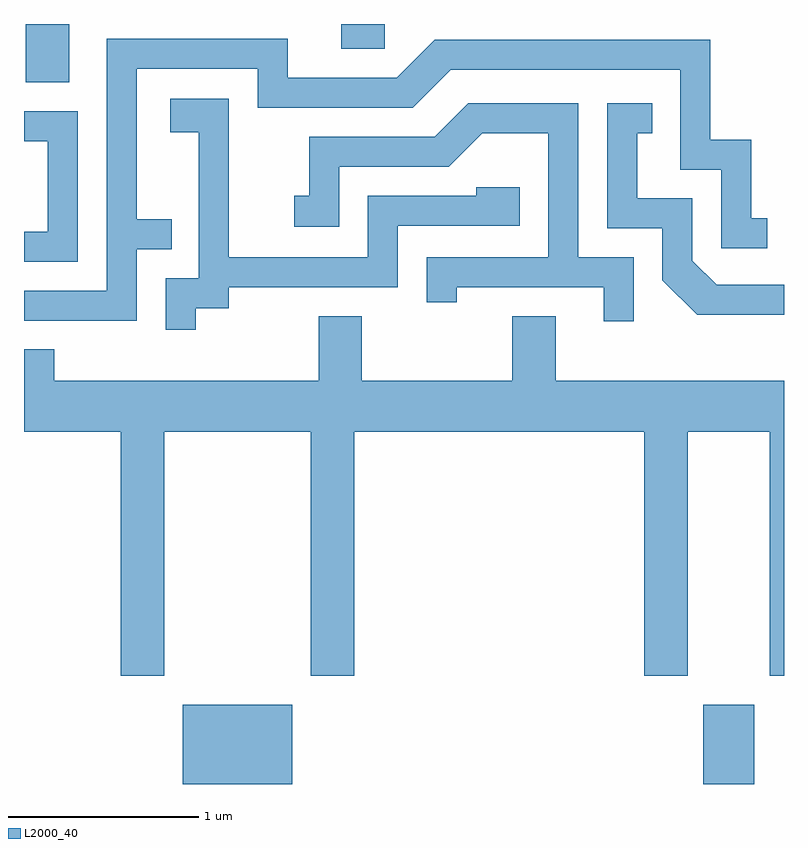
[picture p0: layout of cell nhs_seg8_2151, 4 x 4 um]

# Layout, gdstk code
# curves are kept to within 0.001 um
import gdstk
lib = gdstk.Library(unit=1e-6, precision=1e-09)
def R(c, l, rs):  # rectangles x0, y0, x1, y1
    for r in rs: c.add(gdstk.rectangle(r[:2], r[2:], *l))
def P(c, l, *ps):  # polygons
    for p in ps: c.add(gdstk.Polygon(p, *l))
L2000_40 = (2000, 40)

nhs_seg8_2151 = lib.new_cell('nhs_seg8_2151')
R(nhs_seg8_2151, L2000_40, [(250.446,1832.342,251.024,1832.759), (253.186,1832.342,253.454,1832.759), (249.621,1836.036,249.849,1836.342), (251.281,1836.211,251.509,1836.342)])
P(nhs_seg8_2151, L2000_40, [(250.204,1835.156),(250.388,1835.156),(250.388,1835.314),(250.204,1835.314),(250.204,1836.106),(250.841,1836.106),(250.841,1835.901),(251.657,1835.901),(251.857,1836.101),(253.066,1836.101),(253.066,1835.576),(253.281,1835.576),(253.281,1835.161),(253.523,1835.161),(253.523,1835.319),(253.439,1835.319),(253.439,1835.734),(253.224,1835.734),(253.224,1836.259),(251.774,1836.259),(251.574,1836.059),(250.999,1836.059),(250.999,1836.264),(250.046,1836.264),(250.046,1834.939),(249.611,1834.939),(249.611,1834.781),(250.204,1834.781)],
  [(250.514,1834.846),(250.689,1834.846),(250.689,1834.956),(251.579,1834.956),(251.579,1835.281),(252.219,1835.281),(252.219,1835.484),(251.991,1835.484),(251.991,1835.439),(251.421,1835.439),(251.421,1835.114),(250.689,1835.114),(250.689,1835.949),(250.381,1835.949),(250.381,1835.771),(250.531,1835.771),(250.531,1835.004),(250.356,1835.004),(250.356,1834.733),(250.514,1834.733)],
  [(252.819,1835.114),(252.529,1835.114),(252.529,1835.924),(251.949,1835.924),(251.774,1835.749),(251.111,1835.749),(251.111,1835.439),(251.033,1835.439),(251.033,1835.276),(251.269,1835.276),(251.269,1835.591),(251.847,1835.591),(252.022,1835.766),(252.371,1835.766),(252.371,1835.114),(251.731,1835.114),(251.731,1834.878),(251.889,1834.878),(251.889,1834.956),(252.661,1834.956),(252.661,1834.778),(252.819,1834.778)],
  [(253.611,1834.969),(253.257,1834.969),(253.129,1835.097),(253.129,1835.424),(252.839,1835.424),(252.839,1835.766),(252.918,1835.766),(252.918,1835.924),(252.681,1835.924),(252.681,1835.266),(252.971,1835.266),(252.971,1834.994),(253.154,1834.811),(253.611,1834.811)],
  [(249.894,1835.884),(249.611,1835.884),(249.611,1835.726),(249.736,1835.726),(249.736,1835.249),(249.611,1835.249),(249.611,1835.091),(249.894,1835.091)],
  [(250.349,1834.196),(251.121,1834.196),(251.121,1832.911),(251.349,1832.911),(251.349,1834.196),(252.876,1834.196),(252.876,1832.911),(253.104,1832.911),(253.104,1834.196),(253.536,1834.196),(253.536,1832.911),(253.611,1832.911),(253.611,1834.464),(252.409,1834.464),(252.409,1834.804),(252.181,1834.804),(252.181,1834.464),(251.389,1834.464),(251.389,1834.804),(251.161,1834.804),(251.161,1834.464),(249.769,1834.464),(249.769,1834.629),(249.611,1834.629),(249.611,1834.196),(250.121,1834.196),(250.121,1832.911),(250.349,1832.911)])

lib.write_gds('nhs_seg8_2151.gds')
